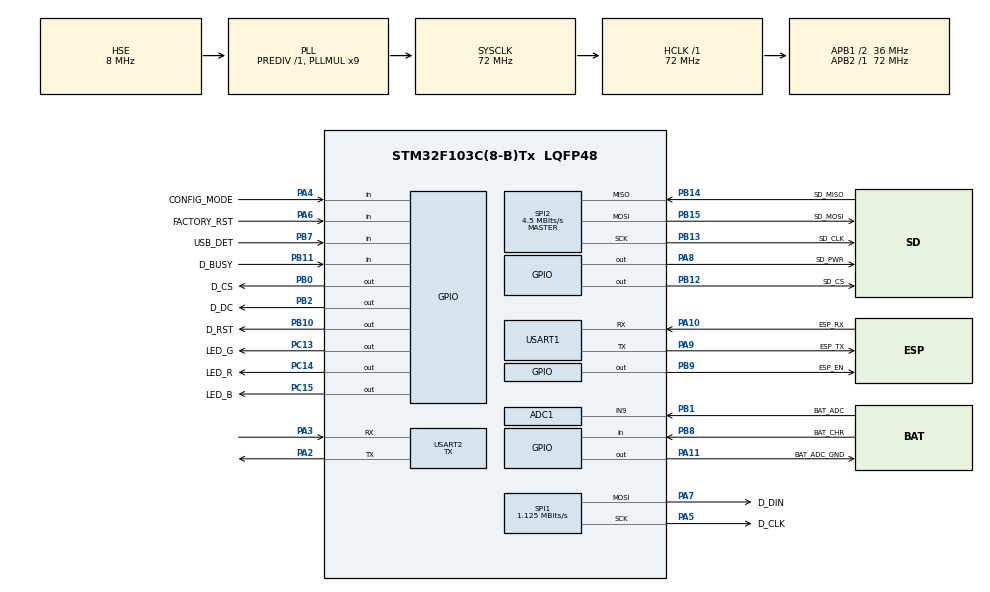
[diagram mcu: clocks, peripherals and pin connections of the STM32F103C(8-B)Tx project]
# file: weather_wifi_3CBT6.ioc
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ADC1.Channel-1\#ChannelRegularConversion=ADC_CHANNEL_9
ADC1.Channel-10\#ChannelRegularConversion=ADC_CHANNEL_VREFINT
ADC1.Channel-11\#ChannelRegularConversion=ADC_CHANNEL_9
ADC1.Channel-12\#ChannelRegularConversion=ADC_CHANNEL_VREFINT
ADC1.Channel-13\#ChannelRegularConversion=ADC_CHANNEL_9
ADC1.Channel-14\#ChannelRegularConversion=ADC_CHANNEL_VREFINT
ADC1.Channel-15\#ChannelRegularConversion=ADC_CHANNEL_9
ADC1.Channel-16\#ChannelRegularConversion=ADC_CHANNEL_VREFINT
ADC1.Channel-2\#ChannelRegularConversion=ADC_CHANNEL_VREFINT
ADC1.Channel-3\#ChannelRegularConversion=ADC_CHANNEL_9
ADC1.Channel-4\#ChannelRegularConversion=ADC_CHANNEL_VREFINT
ADC1.Channel-5\#ChannelRegularConversion=ADC_CHANNEL_9
ADC1.Channel-6\#ChannelRegularConversion=ADC_CHANNEL_VREFINT
ADC1.Channel-7\#ChannelRegularConversion=ADC_CHANNEL_9
ADC1.Channel-8\#ChannelRegularConversion=ADC_CHANNEL_VREFINT
ADC1.Channel-9\#ChannelRegularConversion=ADC_CHANNEL_9
ADC1.NbrOfConversion=16
ADC1.NbrOfConversionFlag=1
ADC1.Rank-1\#ChannelRegularConversion=1
ADC1.Rank-10\#ChannelRegularConversion=10
ADC1.Rank-11\#ChannelRegularConversion=11
ADC1.Rank-12\#ChannelRegularConversion=12
ADC1.Rank-13\#ChannelRegularConversion=13
ADC1.Rank-14\#ChannelRegularConversion=14
ADC1.Rank-15\#ChannelRegularConversion=15
ADC1.Rank-16\#ChannelRegularConversion=16
ADC1.Rank-2\#ChannelRegularConversion=2
ADC1.Rank-3\#ChannelRegularConversion=3
ADC1.Rank-4\#ChannelRegularConversion=4
ADC1.Rank-5\#ChannelRegularConversion=5
ADC1.Rank-6\#ChannelRegularConversion=6
ADC1.Rank-7\#ChannelRegularConversion=7
ADC1.Rank-8\#ChannelRegularConversion=8
ADC1.Rank-9\#ChannelRegularConversion=9
ADC1.SamplingTime-1\#ChannelRegularConversion=ADC_SAMPLETIME_239CYCLES_5
ADC1.SamplingTime-10\#ChannelRegularConversion=ADC_SAMPLETIME_239CYCLES_5
ADC1.SamplingTime-11\#ChannelRegularConversion=ADC_SAMPLETIME_239CYCLES_5
ADC1.SamplingTime-12\#ChannelRegularConversion=ADC_SAMPLETIME_239CYCLES_5
ADC1.SamplingTime-13\#ChannelRegularConversion=ADC_SAMPLETIME_239CYCLES_5
ADC1.SamplingTime-14\#ChannelRegularConversion=ADC_SAMPLETIME_239CYCLES_5
ADC1.SamplingTime-15\#ChannelRegularConversion=ADC_SAMPLETIME_239CYCLES_5
ADC1.SamplingTime-16\#ChannelRegularConversion=ADC_SAMPLETIME_239CYCLES_5
ADC1.SamplingTime-2\#ChannelRegularConversion=ADC_SAMPLETIME_239CYCLES_5
ADC1.SamplingTime-3\#ChannelRegularConversion=ADC_SAMPLETIME_239CYCLES_5
ADC1.SamplingTime-4\#ChannelRegularConversion=ADC_SAMPLETIME_239CYCLES_5
ADC1.SamplingTime-5\#ChannelRegularConversion=ADC_SAMPLETIME_239CYCLES_5
ADC1.SamplingTime-6\#ChannelRegularConversion=ADC_SAMPLETIME_239CYCLES_5
ADC1.SamplingTime-7\#ChannelRegularConversion=ADC_SAMPLETIME_239CYCLES_5
ADC1.SamplingTime-8\#ChannelRegularConversion=ADC_SAMPLETIME_239CYCLES_5
ADC1.SamplingTime-9\#ChannelRegularConversion=ADC_SAMPLETIME_239CYCLES_5
ADC1.master=1
Dma.ADC1.0.Direction=DMA_PERIPH_TO_MEMORY
Dma.ADC1.0.Instance=DMA1_Channel1
Dma.ADC1.0.MemDataAlignment=DMA_MDATAALIGN_HALFWORD
Dma.ADC1.0.MemInc=DMA_MINC_ENABLE
Dma.ADC1.0.Mode=DMA_NORMAL
Dma.ADC1.0.PeriphDataAlignment=DMA_PDATAALIGN_HALFWORD
Dma.ADC1.0.PeriphInc=DMA_PINC_DISABLE
Dma.ADC1.0.Priority=DMA_PRIORITY_LOW
Dma.MEMTOMEM.4.Direction=DMA_MEMORY_TO_MEMORY
Dma.MEMTOMEM.4.Instance=DMA1_Channel2
Dma.MEMTOMEM.4.MemDataAlignment=DMA_MDATAALIGN_BYTE
Dma.MEMTOMEM.4.MemInc=DMA_MINC_ENABLE
Dma.MEMTOMEM.4.Mode=DMA_NORMAL
Dma.MEMTOMEM.4.PeriphDataAlignment=DMA_PDATAALIGN_BYTE
Dma.MEMTOMEM.4.PeriphInc=DMA_PINC_ENABLE
Dma.MEMTOMEM.4.Priority=DMA_PRIORITY_LOW
Dma.Request0=ADC1
Dma.Request1=USART1_TX
Dma.Request2=USART1_RX
Dma.Request3=USART2_TX
Dma.Request4=MEMTOMEM
Dma.Request5=SPI1_TX
Dma.SPI1_TX.5.Direction=DMA_MEMORY_TO_PERIPH
Dma.SPI1_TX.5.Instance=DMA1_Channel3
Dma.SPI1_TX.5.MemDataAlignment=DMA_MDATAALIGN_BYTE
Dma.SPI1_TX.5.MemInc=DMA_MINC_ENABLE
Dma.SPI1_TX.5.Mode=DMA_NORMAL
Dma.SPI1_TX.5.PeriphDataAlignment=DMA_PDATAALIGN_BYTE
Dma.SPI1_TX.5.PeriphInc=DMA_PINC_DISABLE
Dma.SPI1_TX.5.Priority=DMA_PRIORITY_LOW
Dma.USART1_RX.2.Direction=DMA_PERIPH_TO_MEMORY
Dma.USART1_RX.2.Instance=DMA1_Channel5
Dma.USART1_RX.2.MemDataAlignment=DMA_MDATAALIGN_BYTE
Dma.USART1_RX.2.MemInc=DMA_MINC_ENABLE
Dma.USART1_RX.2.Mode=DMA_NORMAL
Dma.USART1_RX.2.PeriphDataAlignment=DMA_PDATAALIGN_BYTE
Dma.USART1_RX.2.PeriphInc=DMA_PINC_DISABLE
Dma.USART1_RX.2.Priority=DMA_PRIORITY_HIGH
Dma.USART1_TX.1.Direction=DMA_MEMORY_TO_PERIPH
Dma.USART1_TX.1.Instance=DMA1_Channel4
Dma.USART1_TX.1.MemDataAlignment=DMA_MDATAALIGN_BYTE
Dma.USART1_TX.1.MemInc=DMA_MINC_ENABLE
Dma.USART1_TX.1.Mode=DMA_NORMAL
Dma.USART1_TX.1.PeriphDataAlignment=DMA_PDATAALIGN_BYTE
Dma.USART1_TX.1.PeriphInc=DMA_PINC_DISABLE
Dma.USART1_TX.1.Priority=DMA_PRIORITY_HIGH
Dma.USART2_TX.3.Direction=DMA_MEMORY_TO_PERIPH
Dma.USART2_TX.3.Instance=DMA1_Channel7
Dma.USART2_TX.3.MemDataAlignment=DMA_MDATAALIGN_BYTE
Dma.USART2_TX.3.MemInc=DMA_MINC_ENABLE
Dma.USART2_TX.3.Mode=DMA_NORMAL
Dma.USART2_TX.3.PeriphDataAlignment=DMA_PDATAALIGN_BYTE
Dma.USART2_TX.3.PeriphInc=DMA_PINC_DISABLE
Dma.USART2_TX.3.Priority=DMA_PRIORITY_LOW
FATFS._MAX_LFN=64
FATFS._USE_LFN=1
Mcu.Family=STM32F1
Mcu.Name=STM32F103C(8-B)Tx
Mcu.Package=LQFP48
NVIC.DMA1_Channel1_IRQn=true\:0\:0\:false\:false\:true\:false\:true\:true
NVIC.DMA1_Channel2_IRQn=true\:0\:0\:false\:false\:true\:true\:true\:true
NVIC.DMA1_Channel3_IRQn=true\:0\:0\:false\:false\:true\:false\:true\:true
NVIC.DMA1_Channel4_IRQn=true\:0\:0\:false\:false\:true\:false\:true\:true
NVIC.DMA1_Channel5_IRQn=true\:0\:0\:false\:false\:true\:false\:true\:true
NVIC.DMA1_Channel7_IRQn=true\:0\:0\:false\:false\:true\:false\:true\:true
NVIC.PriorityGroup=NVIC_PRIORITYGROUP_4
NVIC.SPI2_IRQn=true\:0\:0\:false\:false\:true\:true\:true\:true
NVIC.TIM4_IRQn=true\:0\:0\:false\:false\:true\:true\:true\:true
NVIC.USART1_IRQn=true\:0\:0\:false\:false\:true\:true\:true\:true
NVIC.USART2_IRQn=true\:0\:0\:false\:false\:true\:true\:true\:true
PA0-WKUP.GPIO_Label=SYS_WKUP
PA0-WKUP.Mode=SYS_WakeUp0
PA0-WKUP.Signal=SYS_WKUP
PA10.GPIO_Label=ESP_RX
PA10.Mode=Asynchronous
PA10.Signal=USART1_RX
PA11.GPIO_Label=BAT_ADC_GND
PA11.GPIO_ModeDefaultOutputPP=GPIO_MODE_OUTPUT_OD
PA11.GPIO_PuPd=GPIO_NOPULL
PA11.PinState=GPIO_PIN_SET
PA11.Signal=GPIO_Output
PA13.GPIO_Label=SWDIO
PA13.Mode=Serial_Wire
PA13.Signal=SYS_JTMS-SWDIO
PA14.GPIO_Label=SWCLK
PA14.Mode=Serial_Wire
PA14.Signal=SYS_JTCK-SWCLK
PA2.Mode=Asynchronous
PA2.Signal=USART2_TX
PA3.Mode=Asynchronous
PA3.Signal=USART2_RX
PA4.GPIO_Label=CONFIG_MODE
PA4.GPIO_PuPd=GPIO_PULLUP
PA4.Signal=GPIO_Input
PA5.GPIO_Label=D_CLK
PA5.Mode=TX_Only_Simplex_Unidirect_Master
PA5.Signal=SPI1_SCK
PA6.GPIO_Label=FACTORY_RST
PA6.GPIO_PuPd=GPIO_PULLUP
PA6.Signal=GPIO_Input
PA7.GPIO_Label=D_DIN
PA7.Mode=TX_Only_Simplex_Unidirect_Master
PA7.Signal=SPI1_MOSI
PA8.GPIO_Label=SD_PWR
PA8.Signal=GPIO_Output
PA9.GPIO_Label=ESP_TX
PA9.Mode=Asynchronous
PA9.Signal=USART1_TX
PB0.GPIO_Label=D_CS
PB0.Signal=GPIO_Output
PB1.GPIO_Label=BAT_ADC
PB1.Signal=ADCx_IN9
PB10.GPIO_Label=D_RST
PB10.Signal=GPIO_Output
PB11.GPIO_Label=D_BUSY
PB11.Signal=GPIO_Input
PB12.GPIO_Label=SD_CS
PB12.Signal=GPIO_Output
PB13.GPIO_Label=SD_CLK
PB13.Mode=Full_Duplex_Master
PB13.Signal=SPI2_SCK
PB14.GPIO_Label=SD_MISO
PB14.Mode=Full_Duplex_Master
PB14.Signal=SPI2_MISO
PB15.GPIO_Label=SD_MOSI
PB15.Mode=Full_Duplex_Master
PB15.Signal=SPI2_MOSI
PB2.GPIO_Label=D_DC
PB2.Signal=GPIO_Output
PB7.GPIO_Label=USB_DET
PB7.Signal=GPIO_Input
PB8.GPIO_Label=BAT_CHR
PB8.Signal=GPIO_Input
PB9.GPIO_Label=ESP_EN
PB9.Signal=GPIO_Output
PC13-TAMPER-RTC.GPIO_Label=LED_G
PC13-TAMPER-RTC.PinState=GPIO_PIN_SET
PC13-TAMPER-RTC.Signal=GPIO_Output
PC14-OSC32_IN.GPIO_Label=LED_R
PC14-OSC32_IN.PinState=GPIO_PIN_SET
PC14-OSC32_IN.Signal=GPIO_Output
PC15-OSC32_OUT.GPIO_Label=LED_B
PC15-OSC32_OUT.PinState=GPIO_PIN_SET
PC15-OSC32_OUT.Signal=GPIO_Output
PD0-OSC_IN.Mode=HSE-External-Oscillator
PD0-OSC_IN.Signal=RCC_OSC_IN
PD1-OSC_OUT.Mode=HSE-External-Oscillator
PD1-OSC_OUT.Signal=RCC_OSC_OUT
ProjectManager.HeapSize=0x200
ProjectManager.StackSize=0x400
ProjectManager.TargetToolchain=STM32CubeIDE
RCC.ADCPresc=RCC_ADCPCLK2_DIV6
RCC.AHBFreq_Value=72000000
RCC.APB1CLKDivider=RCC_HCLK_DIV2
RCC.APB1Freq_Value=36000000
RCC.APB1TimFreq_Value=72000000
RCC.APB2Freq_Value=72000000
RCC.APB2TimFreq_Value=72000000
RCC.HCLKFreq_Value=72000000
RCC.PLLMUL=RCC_PLL_MUL9
RCC.PLLSourceVirtual=RCC_PLLSOURCE_HSE
RCC.SYSCLKFreq_VALUE=72000000
RCC.SYSCLKSource=RCC_SYSCLKSOURCE_PLLCLK
RCC.USBFreq_Value=72000000
RTC.Format=RTC_FORMAT_BIN
SH.ADCx_IN9.0=ADC1_IN9,IN9
SPI1.BaudRatePrescaler=SPI_BAUDRATEPRESCALER_64
SPI1.CalculateBaudRate=1.125 MBits/s
SPI1.Direction=SPI_DIRECTION_2LINES
SPI1.Mode=SPI_MODE_MASTER
SPI1.VirtualType=VM_MASTER
SPI2.BaudRatePrescaler=SPI_BAUDRATEPRESCALER_8
SPI2.CalculateBaudRate=4.5 MBits/s
SPI2.Direction=SPI_DIRECTION_2LINES
SPI2.Mode=SPI_MODE_MASTER
SPI2.VirtualType=VM_MASTER
TIM3.Period=9
TIM3.Prescaler=7199
TIM3.TIM_MasterOutputTrigger=TIM_TRGO_UPDATE
TIM4.Period=65535
USART1.VirtualMode=VM_ASYNC
USART2.Mode=MODE_TX
USART2.VirtualMode=VM_ASYNC
VP_ADC1_Vref_Input.Mode=IN-Vrefint
VP_FATFS_VS_Generic.Mode=User_defined
VP_RTC_No_RTC_Output.Mode=RTC_OUT_NO
VP_RTC_VS_RTC_Activate.Mode=RTC_Enabled
VP_TIM3_VS_ClockSourceINT.Mode=Internal
VP_TIM4_VS_ClockSourceITR.Mode=TriggerSource_ITR2
VP_TIM4_VS_ControllerModeClock.Mode=Clock Mode
board=custom

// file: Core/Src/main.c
/* USER CODE BEGIN Header */
/**
  ******************************************************************************
  * @file           : main.c
  * @brief          : Main program body
  ******************************************************************************
  * @attention
  *
  * Copyright (c) 2023 STMicroelectronics.
  * All rights reserved.
  *
  * This software is licensed under terms that can be found in the LICENSE file
  * in the root directory of this software component.
  * If no LICENSE file comes with this software, it is provided AS-IS.
  *
  ******************************************************************************
  */
/* USER CODE END Header */
#include "main.h"
#include "adc.h"
#include "dma.h"
#include "fatfs.h"
#include "rtc.h"
#include "spi.h"
#include "tim.h"
#include "usart.h"
#include "gpio.h"

/* USER CODE BEGIN Includes */
#include <stdlib.h>
#include <stdio.h>
#include <string.h>
#include "wifi/wifi_esp.h"
#include "system.h"
#include "jsmn.h"
#include "app/server/httpServerApp.h"
#include "app/client/forecast_client.h"
#include "logger.h"
#include "utils.h"

#include "led.h"
#include "images.h"
#include "sw_watchdog.h"
#include "GUI/GUI_Paint.h"
#include "e-Paper/EPD_1in54b.h"
/* USER CODE END Includes */

/* USER CODE BEGIN PV */
char deviceName[32] = "";
/* USER CODE END PV */

void SystemClock_Config(void);

/* USER CODE BEGIN 0 */

Wifi_RespStatus loadWiFiAPConfig(void)
{
	SWiFi_AP_Config ap_config;
	FIL configFile;

	char apConfigStr[256];
	uint16_t apConfigSize = 0;

	jsmn_parser jsonParser;
	jsmntok_t jsonTokens[10];
	int16_t numOfTokens;

	uint16_t tokenSize;
	char* tokenPtr;

	DMA_memset(&ap_config, 0, sizeof(SWiFi_AP_Config));

	jsmn_init(&jsonParser);

	if(FR_OK == f_open(&configFile, FILE_PATH_AP_CONFIG, FA_READ))
	{
		if(FR_OK != f_read(&configFile, apConfigStr, sizeof(apConfigStr), (UINT*)&apConfigSize))
		{
			f_close(&configFile);
			Logger(LOG_ERR, "Cannot read AP config");
			return WIFI_RESP_ERROR;
		}
		f_close(&configFile);
	}
	else
	{
		Logger(LOG_ERR, "Cannot open AP config");
		return WIFI_RESP_ERROR;
	}

	numOfTokens = jsmn_parse(&jsonParser, apConfigStr, apConfigSize, jsonTokens, sizeof(jsonTokens) / sizeof(jsonTokens[0]));
	if(0 > numOfTokens || jsonTokens[0].type != JSMN_OBJECT)	//if no tokens or first token isn't object
	{
		Logger(LOG_ERR, "AP config corrupted");
		return WIFI_RESP_ERROR;
	}

	for(uint16_t i = 1; i < numOfTokens; i++)
	{
		if(0 == jsmn_eq(apConfigStr, &jsonTokens[i], "ssid"))
		{
			tokenSize = jsonTokens[i + 1].end - jsonTokens[i + 1].start;
			tokenPtr = apConfigStr + jsonTokens[i + 1].start;
			DMA_memcpy(ap_config.ssid, tokenPtr, tokenSize);
			i++;
		}
		else if(0 == jsmn_eq(apConfigStr, &jsonTokens[i], "pass"))
		{
			tokenSize = jsonTokens[i + 1].end - jsonTokens[i + 1].start;
			tokenPtr = apConfigStr + jsonTokens[i + 1].start;
			DMA_memcpy(ap_config.pass, tokenPtr, tokenSize);
			i++;
		}
		else if(0 == jsmn_eq(apConfigStr, &jsonTokens[i], "enc"))
		{
			WiFi_Encryption encVal = (WiFi_Encryption)atoi(apConfigStr + jsonTokens[i + 1].start);
			ap_config.enc = encVal;
			i++;
		}
		else if(0 == jsmn_eq(apConfigStr, &jsonTokens[i], "channel"))
		{
			uint8_t channelVal = atoi(apConfigStr + jsonTokens[i + 1].start);
			ap_config.channel = channelVal;
			i++;
		}
		else
		{
			i++;
		}
	}

	ap_config.maxConnection = 1;

	return WiFi_AP_mode(&ap_config);
}

/* USER CODE END 0 */

int main(void)
{

  /* MCU Configuration--------------------------------------------------------*/

  /* Reset of all peripherals, Initializes the Flash interface and the Systick. */
  HAL_Init();

  /* Configure the system clock */
  SystemClock_Config();

  /* Initialize all configured peripherals */
  MX_GPIO_Init();
  MX_DMA_Init();
  MX_ADC1_Init();
  MX_RTC_Init();
  MX_SPI2_Init();
  MX_USART1_UART_Init();
  MX_USART2_UART_Init();
  MX_FATFS_Init();
  MX_SPI1_Init();
  MX_TIM4_Init();
  MX_TIM3_Init();

  /* Infinite loop */
  /* USER CODE BEGIN WHILE */
  uint16_t retryCounter = 0;

  //Set display canvas setting
  Paint_NewImage(NULL, EPD_WIDTH, EPD_HEIGHT, ROTATE_270, WHITE);

  led_setColor(LED_GREEN);
  system_init();

  if(system_batteryLevel() == 0 && SYSTEM_POWER_BATTERY == system_powerStatus())
  {
	  show_low_bat_image();
	  system_shutdown();
  }

  //WiFi restart procedure
  while (1)
  {
	  if(WIFI_RESP_OK == WiFi_restart(5000))
	  {
		  char WiFi_verString[10];

		  Logger(LOG_INF, "WiFi restart OK!");
		  WiFi_setStationName(system_getHostName(), 1000);
		  if(WIFI_RESP_OK == WiFi_GetVersionString(WiFi_verString, 20, 1000))
		  {
			  Logger(LOG_VIP, "WiFi version: %s", WiFi_verString);
		  }
		  break;
	  }
	  else
	  {
	      sw_watchdog_reset();
		  retryCounter++;
		  Logger(LOG_ERR, "WiFi restart failed %d times", retryCounter);
		  if(retryCounter > 5)
		  {
			  WiFi_shutdown();
			  show_error_image(ERR_IMG_GENERAL, "WIFI Module Error", NULL);
			  for(uint8_t i = 0; i < 20; i++)
			  {
				  led_setColor(LED_RED);
				  system_sleep(250);
				  led_setColor(LED_OFF);
				  system_sleep(250);
			  }
			  system_shutdown();
		  }
		  WiFi_shutdown();
		  system_sleep(1000);
	  }
  }

  //If WIFI config file doesn't exist, stop connecting with old AP
  if(FR_NO_FILE == f_stat(FILE_PATH_WIFI_CONFIG, NULL))
  {
	  WiFi_DisconnectStation(1000);
	  WiFi_setStationAutoConnection(0, 1000);
  }

  Logger(LOG_INF, "Set SNTP config");
  WiFi_setSNTPconfig(1, 0, 1000);
  system_sleep(1000);

  //start applications
  if(system_isConfigModeOn())
  {
	  sw_watchdog_reset();
	  f_unlink(FILE_PATH_CONFIG_MODE_FLAG);

	  if(WIFI_RESP_OK == loadWiFiAPConfig())
	  {
		  Logger(LOG_VIP, "Enter config mode");
		  show_configMode_image();

		  int8_t serverExitCode = 0;
		  Logger(LOG_INF, "Start server");
		  if(0 != (serverExitCode = runServerApp(80, 5, 1000)))
		  {
			  Logger(LOG_ERR, "Server exit with code %d", serverExitCode);
			  char errStr[20];
			  sprintf(errStr, "ecode: %d", serverExitCode);
			  show_error_image(ERR_IMG_GENERAL, "Fatal Server Err", errStr);
		  }
	  }
	  else
	  {
		  show_error_image(ERR_IMG_GENERAL, "WIFI AP Error", "Cannot start AP");
	  }
  }
  else
  {
	  runForecastApp();
  }

  sw_watchdog_reset();
  system_shutdown();	//set system in standby mode

  while (1)
  {
    /* USER CODE END WHILE */

  }
}

void SystemClock_Config(void)
{
  RCC_OscInitTypeDef RCC_OscInitStruct = {0};
  RCC_ClkInitTypeDef RCC_ClkInitStruct = {0};
  RCC_PeriphCLKInitTypeDef PeriphClkInit = {0};

  /** Initializes the RCC Oscillators according to the specified parameters
  * in the RCC_OscInitTypeDef structure.
  */
  RCC_OscInitStruct.OscillatorType = RCC_OSCILLATORTYPE_LSI|RCC_OSCILLATORTYPE_HSE;
  RCC_OscInitStruct.HSEState = RCC_HSE_ON;
  RCC_OscInitStruct.HSEPredivValue = RCC_HSE_PREDIV_DIV1;
  RCC_OscInitStruct.HSIState = RCC_HSI_ON;
  RCC_OscInitStruct.LSIState = RCC_LSI_ON;
  RCC_OscInitStruct.PLL.PLLState = RCC_PLL_ON;
  RCC_OscInitStruct.PLL.PLLSource = RCC_PLLSOURCE_HSE;
  RCC_OscInitStruct.PLL.PLLMUL = RCC_PLL_MUL9;
  if (HAL_RCC_OscConfig(&RCC_OscInitStruct) != HAL_OK)
  {
    Error_Handler();
  }

  /** Initializes the CPU, AHB and APB buses clocks
  */
  RCC_ClkInitStruct.ClockType = RCC_CLOCKTYPE_HCLK|RCC_CLOCKTYPE_SYSCLK
                              |RCC_CLOCKTYPE_PCLK1|RCC_CLOCKTYPE_PCLK2;
  RCC_ClkInitStruct.SYSCLKSource = RCC_SYSCLKSOURCE_PLLCLK;
  RCC_ClkInitStruct.AHBCLKDivider = RCC_SYSCLK_DIV1;
  RCC_ClkInitStruct.APB1CLKDivider = RCC_HCLK_DIV2;
  RCC_ClkInitStruct.APB2CLKDivider = RCC_HCLK_DIV1;

  if (HAL_RCC_ClockConfig(&RCC_ClkInitStruct, FLASH_LATENCY_2) != HAL_OK)
  {
    Error_Handler();
  }
  PeriphClkInit.PeriphClockSelection = RCC_PERIPHCLK_RTC|RCC_PERIPHCLK_ADC;
  PeriphClkInit.RTCClockSelection = RCC_RTCCLKSOURCE_LSI;
  PeriphClkInit.AdcClockSelection = RCC_ADCPCLK2_DIV6;
  if (HAL_RCCEx_PeriphCLKConfig(&PeriphClkInit) != HAL_OK)
  {
    Error_Handler();
  }
}

void Error_Handler(void)
{
  __disable_irq();
  while (1)
  {
  }
}
